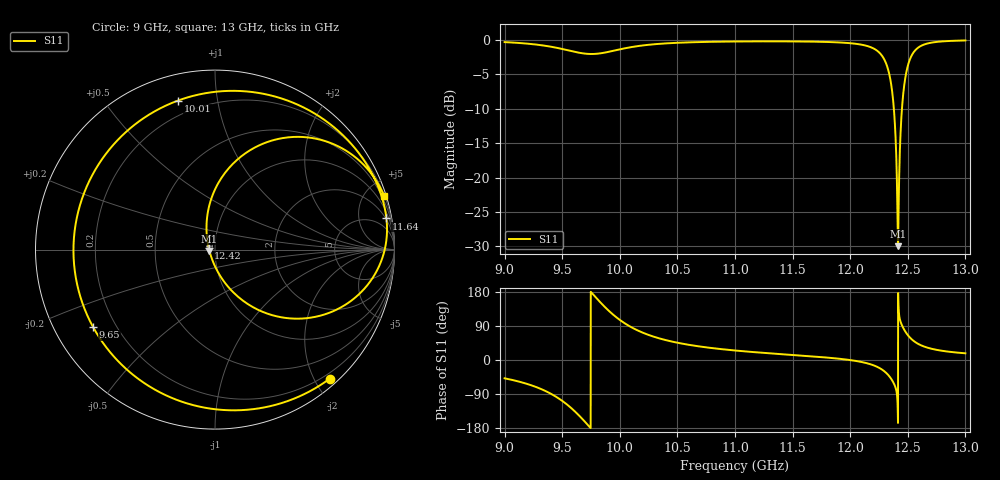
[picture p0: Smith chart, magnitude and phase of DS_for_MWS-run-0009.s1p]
! TOUCHSTONE file generated by CST DESIGN STUDIO
! Date and time: Tue Feb  4 13:41:11 2025
! Project name: C:\Work\MatlabApps\UnitCellOptimizationMatlab\CST\unitcell.cst
! Tree item: Tasks\Sweep1\SPara1\S-Parameters
! Header version: 2024
! Port assignment regex: !\s*Touchstone port\s*([0-9]+)\s*=\s*(CST MWS port|CST DES external port|CST DES block port)\s*(.+)\s* \(\"(.*)\"\)(\s*mode\s*([0-9]+))?.*
! Touchstone port assignment:
! Touchstone port 1 = CST DES external port 1 ("")
# GHz S MA R 50
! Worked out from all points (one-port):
!   4001 points, 9 GHz to 13 GHz, reference 50 ohm
!   lowest |S11| = -30.0 dB at 12.41 GHz (marker M1), VSWR 1.07, Z = 47 - j0.717 ohm
!   |S11| at or under -10 dB: 12.38 GHz to 12.45 GHz (70.28 MHz wide, 0.566 % of centre)
!   S11 on the Smith chart (normalised r, x): 9 GHz: 0.11, -2.22; 9.65 GHz: 0.12, -0.29; 10.01 GHz: 0.12, +0.77; 11.64 GHz: 2, +11; 12.42 GHz: 0.93, +0.02; 13 GHz: 0.23, +6.42
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9  0.9622 -48.3
9.267  0.9249 -70.6
9.5  0.8579 -107.8
9.65  0.8046 -147.7
9.727  0.7897 -172.9
9.801  0.7919 162.0
9.902  0.8176 130.5
10  0.8526 105.8
10.008  0.8554 104.0
10.234  0.9171 67.9
10.5  0.9513 45.6
11  0.9721 25.1
11.5  0.9733 13.3
11.638  0.9707 10.3
12  0.9448 -0.2
12.206  0.8623 -14.4
12.318  0.6513 -35.7
12.37  0.3822 -56.7
12.386  0.261 -66.6
12.402  0.1245 -82.8
12.415  0.03177 -166.1
12.417  0.03722 162.2
12.428  0.1274 111.9
12.456  0.3711 87.2
12.5  0.6467 65.7
12.571  0.8501 46.0
12.658  0.9337 33.8
13  0.989 17.7
